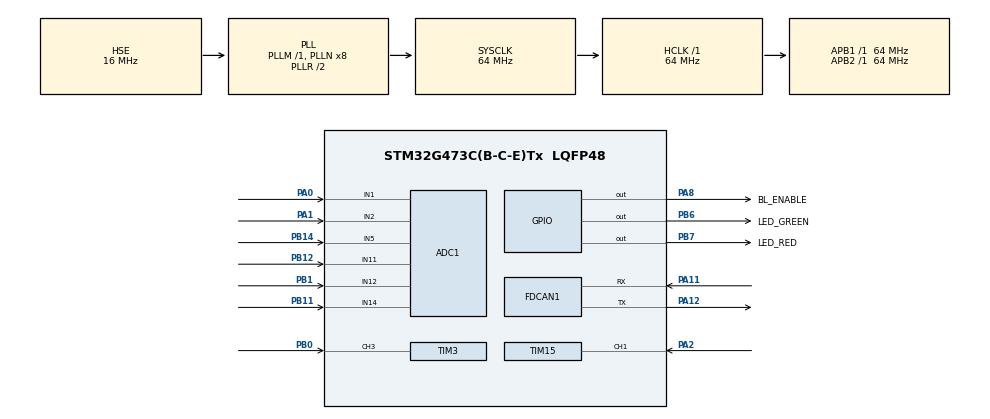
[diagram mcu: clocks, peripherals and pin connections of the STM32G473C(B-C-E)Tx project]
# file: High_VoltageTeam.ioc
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ADC1.Channel-2\#ChannelRegularConversion=ADC_CHANNEL_1
ADC1.Channel-3\#ChannelRegularConversion=ADC_CHANNEL_2
ADC1.Channel-4\#ChannelRegularConversion=ADC_CHANNEL_5
ADC1.Channel-5\#ChannelRegularConversion=ADC_CHANNEL_11
ADC1.Channel-6\#ChannelRegularConversion=ADC_CHANNEL_12
ADC1.Channel-7\#ChannelRegularConversion=ADC_CHANNEL_14
ADC1.ContinuousConvMode=DISABLE
ADC1.DMAContinuousRequests=DISABLE
ADC1.EOCSelection=ADC_EOC_SEQ_CONV
ADC1.EnableRegularConversion=ENABLE
ADC1.NbrOfConversion=6
ADC1.NbrOfConversionFlag=1
ADC1.OffsetNumber-2\#ChannelRegularConversion=ADC_OFFSET_NONE
ADC1.OffsetNumber-3\#ChannelRegularConversion=ADC_OFFSET_NONE
ADC1.OffsetNumber-4\#ChannelRegularConversion=ADC_OFFSET_NONE
ADC1.OffsetNumber-5\#ChannelRegularConversion=ADC_OFFSET_NONE
ADC1.OffsetNumber-6\#ChannelRegularConversion=ADC_OFFSET_NONE
ADC1.OffsetNumber-7\#ChannelRegularConversion=ADC_OFFSET_NONE
ADC1.Rank-2\#ChannelRegularConversion=1
ADC1.Rank-3\#ChannelRegularConversion=2
ADC1.Rank-4\#ChannelRegularConversion=3
ADC1.Rank-5\#ChannelRegularConversion=4
ADC1.Rank-6\#ChannelRegularConversion=5
ADC1.Rank-7\#ChannelRegularConversion=6
ADC1.SamplingTime-2\#ChannelRegularConversion=ADC_SAMPLETIME_47CYCLES_5
ADC1.SamplingTime-3\#ChannelRegularConversion=ADC_SAMPLETIME_47CYCLES_5
ADC1.SamplingTime-4\#ChannelRegularConversion=ADC_SAMPLETIME_47CYCLES_5
ADC1.SamplingTime-5\#ChannelRegularConversion=ADC_SAMPLETIME_47CYCLES_5
ADC1.SamplingTime-6\#ChannelRegularConversion=ADC_SAMPLETIME_47CYCLES_5
ADC1.SamplingTime-7\#ChannelRegularConversion=ADC_SAMPLETIME_47CYCLES_5
ADC1.master=1
Dma.ADC1.0.Direction=DMA_PERIPH_TO_MEMORY
Dma.ADC1.0.EventEnable=DISABLE
Dma.ADC1.0.Instance=DMA1_Channel1
Dma.ADC1.0.MemDataAlignment=DMA_MDATAALIGN_HALFWORD
Dma.ADC1.0.MemInc=DMA_MINC_ENABLE
Dma.ADC1.0.Mode=DMA_CIRCULAR
Dma.ADC1.0.PeriphDataAlignment=DMA_PDATAALIGN_HALFWORD
Dma.ADC1.0.PeriphInc=DMA_PINC_DISABLE
Dma.ADC1.0.Polarity=HAL_DMAMUX_REQ_GEN_RISING
Dma.ADC1.0.Priority=DMA_PRIORITY_LOW
Dma.ADC1.0.RequestNumber=1
Dma.ADC1.0.SignalID=NONE
Dma.ADC1.0.SyncEnable=DISABLE
Dma.ADC1.0.SyncPolarity=HAL_DMAMUX_SYNC_NO_EVENT
Dma.ADC1.0.SyncRequestNumber=1
Dma.ADC1.0.SyncSignalID=NONE
Dma.Request0=ADC1
FDCAN1.AutoRetransmission=ENABLE
FDCAN1.CalculateBaudRateNominal=1000000
FDCAN1.CalculateTimeBitNominal=1000
FDCAN1.CalculateTimeQuantumNominal=62.5
FDCAN1.NominalPrescaler=4
FDCAN1.NominalSyncJumpWidth=1
FDCAN1.NominalTimeSeg1=12
FDCAN1.NominalTimeSeg2=3
FDCAN1.StdFiltersNbr=1
FREERTOS.Tasks01=defaultTask,24,128,StartDefaultTask,Default,NULL,Dynamic,NULL,NULL
FREERTOS.configTOTAL_HEAP_SIZE=16384
FREERTOS.configUSE_NEWLIB_REENTRANT=1
Mcu.Family=STM32G4
Mcu.Name=STM32G473C(B-C-E)Tx
Mcu.Package=LQFP48
NVIC.DMA1_Channel1_IRQn=true\:6\:0\:true\:false\:true\:true\:false\:true\:true
NVIC.FDCAN1_IT0_IRQn=true\:6\:0\:true\:false\:true\:true\:true\:true\:true
NVIC.PriorityGroup=NVIC_PRIORITYGROUP_4
NVIC.TIM1_BRK_TIM15_IRQn=true\:6\:0\:true\:false\:true\:true\:true\:true\:true
NVIC.TIM3_IRQn=true\:6\:0\:true\:false\:true\:true\:true\:true\:true
NVIC.TIM6_DAC_IRQn=true\:15\:0\:false\:false\:true\:false\:false\:true\:true
NVIC.TimeBase=TIM6_DAC_IRQn
NVIC.TimeBaseIP=TIM6
PA0.Mode=IN1-Single-Ended
PA0.Signal=ADC1_IN1
PA1.Mode=IN2-Single-Ended
PA1.Signal=ADC1_IN2
PA11.Mode=FDCAN_Activate
PA11.Signal=FDCAN1_RX
PA12.Mode=FDCAN_Activate
PA12.Signal=FDCAN1_TX
PA13.Mode=Serial_Wire
PA13.Signal=SYS_JTMS-SWDIO
PA14.Mode=Serial_Wire
PA14.Signal=SYS_JTCK-SWCLK
PA2.Signal=S_TIM15_CH1
PA8.GPIO_Label=BL_ENABLE
PA8.Signal=GPIO_Output
PB0.Signal=S_TIM3_CH3
PB1.Mode=IN12-Single-Ended
PB1.Signal=ADC1_IN12
PB11.Mode=IN14-Single-Ended
PB11.Signal=ADC1_IN14
PB12.Mode=IN11-Single-Ended
PB12.Signal=ADC1_IN11
PB14.Mode=IN5-Single-Ended
PB14.Signal=ADC1_IN5
PB6.GPIO_Label=LED_GREEN
PB6.Signal=GPIO_Output
PB7.GPIO_Label=LED_RED
PB7.Signal=GPIO_Output
PF0-OSC_IN.Mode=HSE-External-Oscillator
PF0-OSC_IN.Signal=RCC_OSC_IN
PF1-OSC_OUT.Mode=HSE-External-Oscillator
PF1-OSC_OUT.Signal=RCC_OSC_OUT
ProjectManager.HeapSize=0x200
ProjectManager.StackSize=0x400
ProjectManager.TargetToolchain=STM32CubeIDE
RCC.ADC12Freq_Value=64000000
RCC.ADC345Freq_Value=64000000
RCC.AHBFreq_Value=64000000
RCC.APB1Freq_Value=64000000
RCC.APB1TimFreq_Value=64000000
RCC.APB2Freq_Value=64000000
RCC.APB2TimFreq_Value=64000000
RCC.CortexFreq_Value=64000000
RCC.EXTERNAL_CLOCK_VALUE=12288000
RCC.HCLKFreq_Value=64000000
RCC.HSE_VALUE=16000000
RCC.HSI48_VALUE=48000000
RCC.HSI_VALUE=16000000
RCC.LSE_VALUE=32768
RCC.PLLSourceVirtual=RCC_PLLSOURCE_HSE
RCC.SYSCLKFreq_VALUE=64000000
RCC.SYSCLKSource=RCC_SYSCLKSOURCE_PLLCLK
RCC.USBFreq_Value=64000000
RCC.VCOOutputFreq_Value=128000000
SH.S_TIM15_CH1.0=TIM15_CH1,Input_Capture1_from_TI1
SH.S_TIM3_CH3.0=TIM3_CH3,Input_Capture3_from_TI3
TIM15.Channel-Input_Capture1_from_TI1=TIM_CHANNEL_1
TIM3.Channel-Input_Capture3_from_TI3=TIM_CHANNEL_3
VP_FREERTOS_VS_CMSIS_V2.Mode=CMSIS_V2
VP_SYS_VS_DBSignals.Mode=DisableDeadBatterySignals
VP_SYS_VS_tim6.Mode=TIM6
VP_TIM15_VS_ClockSourceINT.Mode=Internal
VP_TIM3_VS_ClockSourceINT.Mode=Internal
board=custom

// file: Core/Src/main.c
/* USER CODE BEGIN Header */
/**
  ******************************************************************************
  * @file           : main.c
  * @brief          : Main program body
  ******************************************************************************
  * @attention
  *
  * Copyright (c) 2025 STMicroelectronics.
  * All rights reserved.
  *
  * This software is licensed under terms that can be found in the LICENSE file
  * in the root directory of this software component.
  * If no LICENSE file comes with this software, it is provided AS-IS.
  *
  ******************************************************************************
  */
/* USER CODE END Header */
#include "main.h"
#include "cmsis_os.h"

/* USER CODE BEGIN Includes */
#include "app_init.h"
#include "app_config.h"
#include <stdio.h>
/* USER CODE END Includes */

ADC_HandleTypeDef hadc1;
DMA_HandleTypeDef hdma_adc1;

FDCAN_HandleTypeDef hfdcan1;

TIM_HandleTypeDef htim3;
TIM_HandleTypeDef htim15;

/* Definitions for defaultTask */
osThreadId_t defaultTaskHandle;
const osThreadAttr_t defaultTask_attributes = {
  .name = "defaultTask",
  .priority = (osPriority_t) osPriorityNormal,
  .stack_size = 128 * 4
};
/* USER CODE BEGIN PV */
/* Debug trace: watch in Live Expressions to see execution progress */
volatile uint32_t dbg_init_stage = 0;
volatile uint32_t dbg_free_heap = 0;
volatile uint32_t dbg_sensor_count = 0;
volatile uint32_t dbg_canrx_count = 0;
volatile uint32_t dbg_cantx_count = 0;
volatile uint32_t dbg_adc_callback_count = 0;
volatile uint32_t dbg_adc_queue_fail = 0;
volatile uint32_t dbg_can_rx_isr_count = 0;
volatile uint32_t dbg_brake_cmd_count = 0;
volatile uint32_t dbg_last_rx_id = 0;
volatile uint32_t dbg_brake_on_count = 0;
volatile uint32_t dbg_brake_off_count = 0;
/* USER CODE END PV */

void SystemClock_Config(void);
static void MX_GPIO_Init(void);
static void MX_DMA_Init(void);
static void MX_ADC1_Init(void);
static void MX_FDCAN1_Init(void);
static void MX_TIM3_Init(void);
static void MX_TIM15_Init(void);
void StartDefaultTask(void *argument);

/* USER CODE BEGIN 0 */

/* ITM Printf redirect for SWV debug console */
int __io_putchar(int ch)
{
    ITM_SendChar(ch);
    return ch;
}

/* USER CODE END 0 */

int main(void)
{

  /* MCU Configuration--------------------------------------------------------*/

  /* Reset of all peripherals, Initializes the Flash interface and the Systick. */
  HAL_Init();

  /* Configure the system clock */
  SystemClock_Config();

  /* Initialize all configured peripherals */
  MX_GPIO_Init();
  MX_DMA_Init();
  MX_ADC1_Init();
  MX_FDCAN1_Init();
  MX_TIM3_Init();
  MX_TIM15_Init();

  /* Init scheduler */
  osKernelInitialize();

  /* Create the thread(s) */
  /* creation of defaultTask */
  defaultTaskHandle = osThreadNew(StartDefaultTask, NULL, &defaultTask_attributes);

  /* USER CODE BEGIN RTOS_EVENTS */
  /* add events, ... */

    App_Init();   /* Create all RTOS objects and tasks */
    App_Start();  /* Start FDCAN and ADC+DMA */

    printf("[MAIN] About to start kernel. Free heap: %u\r\n", (unsigned int)xPortGetFreeHeapSize());
  /* USER CODE END RTOS_EVENTS */

  /* Start scheduler */
  osKernelStart();
  printf("[MAIN] ERROR: should never reach here!\r\n");

  /* We should never get here as control is now taken by the scheduler */

  /* Infinite loop */
  while (1)
  {

  }
}

void SystemClock_Config(void)
{
  RCC_OscInitTypeDef RCC_OscInitStruct = {0};
  RCC_ClkInitTypeDef RCC_ClkInitStruct = {0};

  /** Configure the main internal regulator output voltage
  */
  HAL_PWREx_ControlVoltageScaling(PWR_REGULATOR_VOLTAGE_SCALE1);

  /** Initializes the RCC Oscillators according to the specified parameters
  * in the RCC_OscInitTypeDef structure.
  */
  RCC_OscInitStruct.OscillatorType = RCC_OSCILLATORTYPE_HSE;
  RCC_OscInitStruct.HSEState = RCC_HSE_ON;
  RCC_OscInitStruct.PLL.PLLState = RCC_PLL_ON;
  RCC_OscInitStruct.PLL.PLLSource = RCC_PLLSOURCE_HSE;
  RCC_OscInitStruct.PLL.PLLM = RCC_PLLM_DIV1;
  RCC_OscInitStruct.PLL.PLLN = 8;
  RCC_OscInitStruct.PLL.PLLP = RCC_PLLP_DIV2;
  RCC_OscInitStruct.PLL.PLLQ = RCC_PLLQ_DIV2;
  RCC_OscInitStruct.PLL.PLLR = RCC_PLLR_DIV2;
  if (HAL_RCC_OscConfig(&RCC_OscInitStruct) != HAL_OK)
  {
    Error_Handler();
  }

  /** Initializes the CPU, AHB and APB buses clocks
  */
  RCC_ClkInitStruct.ClockType = RCC_CLOCKTYPE_HCLK|RCC_CLOCKTYPE_SYSCLK
                              |RCC_CLOCKTYPE_PCLK1|RCC_CLOCKTYPE_PCLK2;
  RCC_ClkInitStruct.SYSCLKSource = RCC_SYSCLKSOURCE_PLLCLK;
  RCC_ClkInitStruct.AHBCLKDivider = RCC_SYSCLK_DIV1;
  RCC_ClkInitStruct.APB1CLKDivider = RCC_HCLK_DIV1;
  RCC_ClkInitStruct.APB2CLKDivider = RCC_HCLK_DIV1;

  if (HAL_RCC_ClockConfig(&RCC_ClkInitStruct, FLASH_LATENCY_2) != HAL_OK)
  {
    Error_Handler();
  }
}

static void MX_ADC1_Init(void)
{

  ADC_MultiModeTypeDef multimode = {0};
  ADC_ChannelConfTypeDef sConfig = {0};

  /** Common config
  */
  hadc1.Instance = ADC1;
  hadc1.Init.ClockPrescaler = ADC_CLOCK_SYNC_PCLK_DIV2;
  hadc1.Init.Resolution = ADC_RESOLUTION_12B;
  hadc1.Init.DataAlign = ADC_DATAALIGN_RIGHT;
  hadc1.Init.GainCompensation = 0;
  hadc1.Init.ScanConvMode = ADC_SCAN_ENABLE;
  hadc1.Init.EOCSelection = ADC_EOC_SEQ_CONV;
  hadc1.Init.LowPowerAutoWait = DISABLE;
  hadc1.Init.ContinuousConvMode = DISABLE;
  hadc1.Init.NbrOfConversion = 6;
  hadc1.Init.DiscontinuousConvMode = DISABLE;
  hadc1.Init.ExternalTrigConv = ADC_SOFTWARE_START;
  hadc1.Init.ExternalTrigConvEdge = ADC_EXTERNALTRIGCONVEDGE_NONE;
  hadc1.Init.DMAContinuousRequests = DISABLE;
  hadc1.Init.Overrun = ADC_OVR_DATA_PRESERVED;
  hadc1.Init.OversamplingMode = DISABLE;
  if (HAL_ADC_Init(&hadc1) != HAL_OK)
  {
    Error_Handler();
  }

  /** Configure the ADC multi-mode
  */
  multimode.Mode = ADC_MODE_INDEPENDENT;
  if (HAL_ADCEx_MultiModeConfigChannel(&hadc1, &multimode) != HAL_OK)
  {
    Error_Handler();
  }

  /** Configure Regular Channel
  */
  sConfig.Channel = ADC_CHANNEL_1;
  sConfig.Rank = ADC_REGULAR_RANK_1;
  sConfig.SamplingTime = ADC_SAMPLETIME_47CYCLES_5;
  sConfig.SingleDiff = ADC_SINGLE_ENDED;
  sConfig.OffsetNumber = ADC_OFFSET_NONE;
  sConfig.Offset = 0;
  if (HAL_ADC_ConfigChannel(&hadc1, &sConfig) != HAL_OK)
  {
    Error_Handler();
  }

  /** Configure Regular Channel
  */
  sConfig.Channel = ADC_CHANNEL_2;
  sConfig.Rank = ADC_REGULAR_RANK_2;
  if (HAL_ADC_ConfigChannel(&hadc1, &sConfig) != HAL_OK)
  {
    Error_Handler();
  }

  /** Configure Regular Channel
  */
  sConfig.Channel = ADC_CHANNEL_5;
  sConfig.Rank = ADC_REGULAR_RANK_3;
  if (HAL_ADC_ConfigChannel(&hadc1, &sConfig) != HAL_OK)
  {
    Error_Handler();
  }

  /** Configure Regular Channel
  */
  sConfig.Channel = ADC_CHANNEL_11;
  sConfig.Rank = ADC_REGULAR_RANK_4;
  if (HAL_ADC_ConfigChannel(&hadc1, &sConfig) != HAL_OK)
  {
    Error_Handler();
  }

  /** Configure Regular Channel
  */
  sConfig.Channel = ADC_CHANNEL_12;
  sConfig.Rank = ADC_REGULAR_RANK_5;
  if (HAL_ADC_ConfigChannel(&hadc1, &sConfig) != HAL_OK)
  {
    Error_Handler();
  }

  /** Configure Regular Channel
  */
  sConfig.Channel = ADC_CHANNEL_14;
  sConfig.Rank = ADC_REGULAR_RANK_6;
  if (HAL_ADC_ConfigChannel(&hadc1, &sConfig) != HAL_OK)
  {
    Error_Handler();
  }

}

static void MX_FDCAN1_Init(void)
{

  /* USER CODE BEGIN FDCAN1_Init 1 */
  HAL_NVIC_SetPriority(FDCAN1_IT0_IRQn, 6, 0);
  HAL_NVIC_EnableIRQ(FDCAN1_IT0_IRQn);
  /* USER CODE END FDCAN1_Init 1 */
  hfdcan1.Instance = FDCAN1;
  hfdcan1.Init.ClockDivider = FDCAN_CLOCK_DIV1;
  hfdcan1.Init.FrameFormat = FDCAN_FRAME_CLASSIC;
  hfdcan1.Init.Mode = FDCAN_MODE_NORMAL;
  hfdcan1.Init.AutoRetransmission = ENABLE;
  hfdcan1.Init.TransmitPause = DISABLE;
  hfdcan1.Init.ProtocolException = DISABLE;
  hfdcan1.Init.NominalPrescaler = 4;
  hfdcan1.Init.NominalSyncJumpWidth = 1;
  hfdcan1.Init.NominalTimeSeg1 = 12;
  hfdcan1.Init.NominalTimeSeg2 = 3;
  hfdcan1.Init.DataPrescaler = 1;
  hfdcan1.Init.DataSyncJumpWidth = 1;
  hfdcan1.Init.DataTimeSeg1 = 1;
  hfdcan1.Init.DataTimeSeg2 = 1;
  hfdcan1.Init.StdFiltersNbr = 1;
  hfdcan1.Init.ExtFiltersNbr = 0;
  hfdcan1.Init.TxFifoQueueMode = FDCAN_TX_FIFO_OPERATION;
  if (HAL_FDCAN_Init(&hfdcan1) != HAL_OK)
  {
    Error_Handler();
  }
  /* USER CODE BEGIN FDCAN1_Init 2 */
    FDCAN_FilterTypeDef sFilterConfig;

    /* Filter 0: Brake command ID 0x200 (exact match) */
    sFilterConfig.IdType = FDCAN_STANDARD_ID;
    sFilterConfig.FilterIndex = 0;
    sFilterConfig.FilterType = FDCAN_FILTER_DUAL;
    sFilterConfig.FilterConfig = FDCAN_FILTER_TO_RXFIFO0;
    sFilterConfig.FilterID1 = CAN_ID_RX_BRAKE;
    sFilterConfig.FilterID2 = CAN_ID_HEARTBEAT;
    if (HAL_FDCAN_ConfigFilter(&hfdcan1, &sFilterConfig) != HAL_OK)
    {
      Error_Handler();
    }

    /* Reject non-matching frames */
    if (HAL_FDCAN_ConfigGlobalFilter(&hfdcan1, FDCAN_REJECT, FDCAN_REJECT,
                                      FDCAN_REJECT_REMOTE, FDCAN_REJECT_REMOTE) != HAL_OK)
    {
      Error_Handler();
    }

    if (HAL_FDCAN_ActivateNotification(&hfdcan1, FDCAN_IT_RX_FIFO0_NEW_MESSAGE, 0) != HAL_OK)
    {
      Error_Handler();
    }
  /* USER CODE END FDCAN1_Init 2 */

}

static void MX_TIM3_Init(void)
{

  TIM_ClockConfigTypeDef sClockSourceConfig = {0};
  TIM_MasterConfigTypeDef sMasterConfig = {0};
  TIM_IC_InitTypeDef sConfigIC = {0};

  htim3.Instance = TIM3;
  htim3.Init.Prescaler = 0;
  htim3.Init.CounterMode = TIM_COUNTERMODE_UP;
  htim3.Init.Period = 65535;
  htim3.Init.ClockDivision = TIM_CLOCKDIVISION_DIV1;
  htim3.Init.AutoReloadPreload = TIM_AUTORELOAD_PRELOAD_DISABLE;
  if (HAL_TIM_Base_Init(&htim3) != HAL_OK)
  {
    Error_Handler();
  }
  sClockSourceConfig.ClockSource = TIM_CLOCKSOURCE_INTERNAL;
  if (HAL_TIM_ConfigClockSource(&htim3, &sClockSourceConfig) != HAL_OK)
  {
    Error_Handler();
  }
  if (HAL_TIM_IC_Init(&htim3) != HAL_OK)
  {
    Error_Handler();
  }
  sMasterConfig.MasterOutputTrigger = TIM_TRGO_RESET;
  sMasterConfig.MasterSlaveMode = TIM_MASTERSLAVEMODE_DISABLE;
  if (HAL_TIMEx_MasterConfigSynchronization(&htim3, &sMasterConfig) != HAL_OK)
  {
    Error_Handler();
  }
  sConfigIC.ICPolarity = TIM_INPUTCHANNELPOLARITY_RISING;
  sConfigIC.ICSelection = TIM_ICSELECTION_DIRECTTI;
  sConfigIC.ICPrescaler = TIM_ICPSC_DIV1;
  sConfigIC.ICFilter = 0;
  if (HAL_TIM_IC_ConfigChannel(&htim3, &sConfigIC, TIM_CHANNEL_3) != HAL_OK)
  {
    Error_Handler();
  }
  /* USER CODE BEGIN TIM3_Init 2 */
  HAL_NVIC_SetPriority(TIM3_IRQn, 6, 0);
  HAL_NVIC_EnableIRQ(TIM3_IRQn);
  /* USER CODE END TIM3_Init 2 */

}

static void MX_TIM15_Init(void)
{

  TIM_ClockConfigTypeDef sClockSourceConfig = {0};
  TIM_MasterConfigTypeDef sMasterConfig = {0};
  TIM_IC_InitTypeDef sConfigIC = {0};

  htim15.Instance = TIM15;
  htim15.Init.Prescaler = 0;
  htim15.Init.CounterMode = TIM_COUNTERMODE_UP;
  htim15.Init.Period = 65535;
  htim15.Init.ClockDivision = TIM_CLOCKDIVISION_DIV1;
  htim15.Init.RepetitionCounter = 0;
  htim15.Init.AutoReloadPreload = TIM_AUTORELOAD_PRELOAD_DISABLE;
  if (HAL_TIM_Base_Init(&htim15) != HAL_OK)
  {
    Error_Handler();
  }
  sClockSourceConfig.ClockSource = TIM_CLOCKSOURCE_INTERNAL;
  if (HAL_TIM_ConfigClockSource(&htim15, &sClockSourceConfig) != HAL_OK)
  {
    Error_Handler();
  }
  if (HAL_TIM_IC_Init(&htim15) != HAL_OK)
  {
    Error_Handler();
  }
  sMasterConfig.MasterOutputTrigger = TIM_TRGO_RESET;
  sMasterConfig.MasterSlaveMode = TIM_MASTERSLAVEMODE_DISABLE;
  if (HAL_TIMEx_MasterConfigSynchronization(&htim15, &sMasterConfig) != HAL_OK)
  {
    Error_Handler();
  }
  sConfigIC.ICPolarity = TIM_INPUTCHANNELPOLARITY_RISING;
  sConfigIC.ICSelection = TIM_ICSELECTION_DIRECTTI;
  sConfigIC.ICPrescaler = TIM_ICPSC_DIV1;
  sConfigIC.ICFilter = 0;
  if (HAL_TIM_IC_ConfigChannel(&htim15, &sConfigIC, TIM_CHANNEL_1) != HAL_OK)
  {
    Error_Handler();
  }
  /* USER CODE BEGIN TIM15_Init 2 */
  HAL_NVIC_SetPriority(TIM1_BRK_TIM15_IRQn, 6, 0);
  HAL_NVIC_EnableIRQ(TIM1_BRK_TIM15_IRQn);
  /* USER CODE END TIM15_Init 2 */

}

static void MX_DMA_Init(void)
{

  /* DMA controller clock enable */
  __HAL_RCC_DMAMUX1_CLK_ENABLE();
  __HAL_RCC_DMA1_CLK_ENABLE();

  /* DMA interrupt init */
  /* DMA1_Channel1_IRQn interrupt configuration */
  HAL_NVIC_SetPriority(DMA1_Channel1_IRQn, 6, 0);
  HAL_NVIC_EnableIRQ(DMA1_Channel1_IRQn);

}

static void MX_GPIO_Init(void)
{
  GPIO_InitTypeDef GPIO_InitStruct = {0};

  /* GPIO Ports Clock Enable */
  __HAL_RCC_GPIOF_CLK_ENABLE();
  __HAL_RCC_GPIOA_CLK_ENABLE();
  __HAL_RCC_GPIOB_CLK_ENABLE();

  /*Configure GPIO pin Output Level */
  HAL_GPIO_WritePin(BL_ENABLE_GPIO_Port, BL_ENABLE_Pin, GPIO_PIN_RESET);

  /*Configure GPIO pin Output Level */
  HAL_GPIO_WritePin(GPIOB, LED_GREEN_Pin|LED_RED_Pin, GPIO_PIN_RESET);

  /*Configure GPIO pin : BL_ENABLE_Pin */
  GPIO_InitStruct.Pin = BL_ENABLE_Pin;
  GPIO_InitStruct.Mode = GPIO_MODE_OUTPUT_PP;
  GPIO_InitStruct.Pull = GPIO_NOPULL;
  GPIO_InitStruct.Speed = GPIO_SPEED_FREQ_LOW;
  HAL_GPIO_Init(BL_ENABLE_GPIO_Port, &GPIO_InitStruct);

  /*Configure GPIO pins : LED_GREEN_Pin LED_RED_Pin */
  GPIO_InitStruct.Pin = LED_GREEN_Pin|LED_RED_Pin;
  GPIO_InitStruct.Mode = GPIO_MODE_OUTPUT_PP;
  GPIO_InitStruct.Pull = GPIO_NOPULL;
  GPIO_InitStruct.Speed = GPIO_SPEED_FREQ_LOW;
  HAL_GPIO_Init(GPIOB, &GPIO_InitStruct);

}

void StartDefaultTask(void *argument)
{
  for(;;)
  {
    osDelay(1);
  }
}

void HAL_TIM_PeriodElapsedCallback(TIM_HandleTypeDef *htim)
{
  if (htim->Instance == TIM6)
  {
    HAL_IncTick();
  }
  /* USER CODE BEGIN Callback 1 */
  /* RPM timer overflow counting - declared in tim_hal.c */
  extern volatile uint32_t left_overflow_count;
  extern volatile uint32_t right_overflow_count;
  if (htim->Instance == TIM15)
  {
    left_overflow_count++;
  }
  else if (htim->Instance == TIM3)
  {
    right_overflow_count++;
  }
  /* USER CODE END Callback 1 */
}

void Error_Handler(void)
{
  __disable_irq();
  while (1)
  {
  }
}
